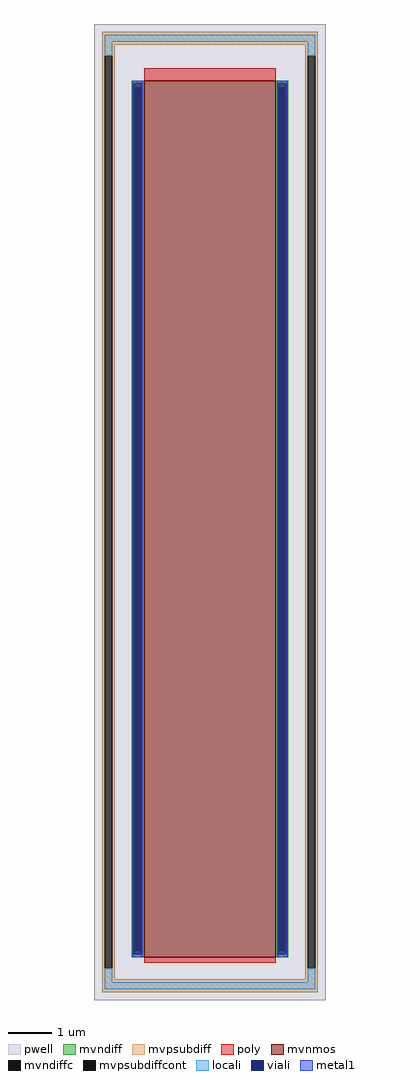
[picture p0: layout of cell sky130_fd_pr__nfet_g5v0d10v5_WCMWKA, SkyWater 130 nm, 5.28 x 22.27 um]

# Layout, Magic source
magic
tech sky130A
magscale 1 2
<< pwell >>
rect -528 -2227 528 2227
<< mvnmos >>
rect -300 -2031 300 1969
<< mvndiff >>
rect -358 1937 -300 1969
rect -358 -1999 -346 1937
rect -312 -1999 -300 1937
rect -358 -2031 -300 -1999
rect 300 1937 358 1969
rect 300 -1999 312 1937
rect 346 -1999 358 1937
rect 300 -2031 358 -1999
<< mvndiffc >>
rect -346 -1999 -312 1937
rect 312 -1999 346 1937
<< mvpsubdiff >>
rect -492 2133 492 2191
rect -492 2083 -434 2133
rect -492 -2083 -480 2083
rect -446 -2083 -434 2083
rect 434 2083 492 2133
rect -492 -2133 -434 -2083
rect 434 -2083 446 2083
rect 480 -2083 492 2083
rect 434 -2133 492 -2083
rect -492 -2191 492 -2133
<< mvpsubdiffcont >>
rect -480 -2083 -446 2083
rect 446 -2083 480 2083
<< poly >>
rect -300 1969 300 2024
rect -300 -2057 300 -2031
<< locali >>
rect -480 2145 480 2179
rect -480 2083 -446 2145
rect 446 2083 480 2145
rect -480 -2145 -446 -2083
rect 446 -2145 480 -2083
rect -480 -2179 480 -2145
<< viali >>
rect -346 1937 -312 1957
rect -346 -1999 -312 1937
rect -346 -2019 -312 -1999
rect 312 1937 346 1957
rect 312 -1999 346 1937
rect 312 -2019 346 -1999
<< metal1 >>
rect -352 1957 -306 1969
rect -352 -2019 -346 1957
rect -312 -2019 -306 1957
rect -352 -2031 -306 -2019
rect 306 1957 352 1969
rect 306 -2019 312 1957
rect 346 -2019 352 1957
rect 306 -2031 352 -2019
<< properties >>
string FIXED_BBOX -463 -2162 463 2162
string gencell sky130_fd_pr__nfet_g5v0d10v5
string library sky130
string parameters w 20 l 3 m 1 nf 1 diffcov 99 polycov 100 guard 1 glc 1 grc 1 gtc 0 gbc 0 tbcov 100 rlcov 100 topc 1 botc 0 poverlap 0 doverlap 1 lmin 0.50 wmin 0.42 compatible {sky130_fd_pr__nfet_01v8 sky130_fd_pr__nfet_01v8_lvt  sky130_fd_bs_flash__special_sonosfet_star  sky130_fd_pr__nfet_g5v0d10v5 sky130_fd_pr__nfet_05v0_nvt  sky130_fd_pr__nfet_03v3_nvt} full_metal 1 viasrc 100 viadrn 100 viagate 100 viagb 0 viagr 0 viagl 0 viagt 0
<< end >>
